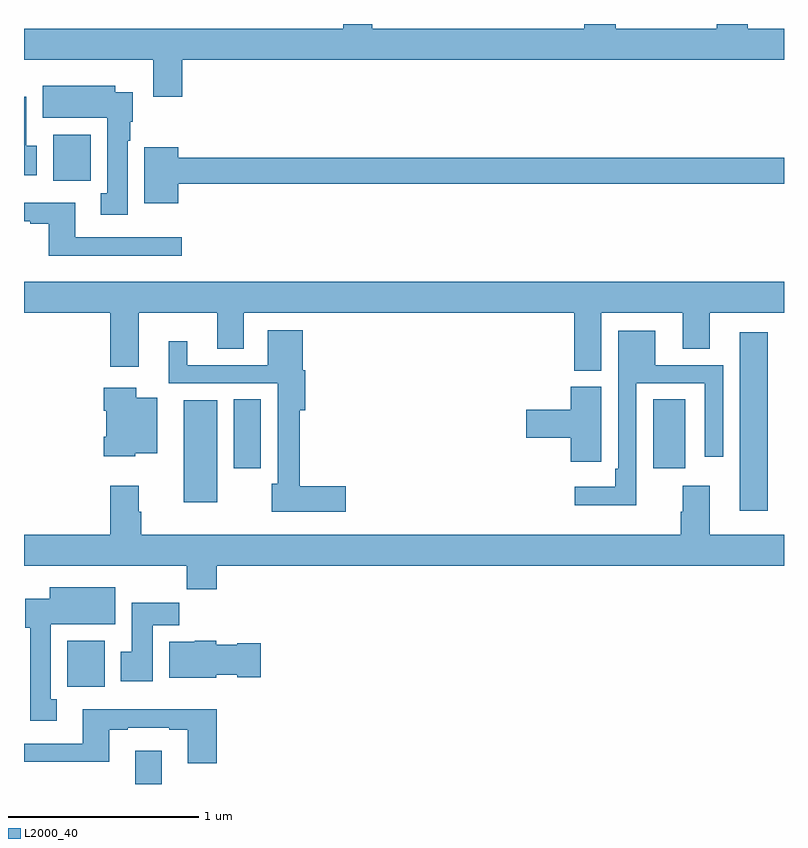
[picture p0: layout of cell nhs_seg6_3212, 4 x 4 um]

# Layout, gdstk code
import gdstk
lib = gdstk.Library(unit=1e-6, precision=1e-09)
def R(c, l, rs):  # rectangles x0, y0, x1, y1
    for r in rs: c.add(gdstk.rectangle(r[:2], r[2:], *l))
def P(c, l, *ps):  # polygons
    for p in ps: c.add(gdstk.Polygon(p, *l))
L2000_40 = (2000, 40)

nhs_seg6_3212 = lib.new_cell('nhs_seg6_3212')
R(nhs_seg6_3212, L2000_40, [(299.585,967.5,299.725,967.675), (299.228,968.012,299.425,968.254), (302.768,968.937,302.915,969.877), (299.84,968.984,300.016,969.52), (300.104,969.162,300.247,969.524), (302.312,969.162,302.479,969.524), (299.153,970.676,299.35,970.918)])
P(nhs_seg6_3212, L2000_40, [(299.834,971.312),(303,971.312),(303,971.476),(302.81,971.476),(302.81,971.5),(302.645,971.5),(302.645,971.476),(302.114,971.476),(302.114,971.5),(301.949,971.5),(301.949,971.476),(300.832,971.476),(300.832,971.5),(300.68,971.5),(300.68,971.476),(299,971.476),(299,971.312),(299.681,971.312),(299.681,971.118),(299.834,971.118)],
  [(299.545,970.886),(299.56,970.886),(299.56,970.986),(299.572,970.986),(299.572,971.14),(299.479,971.14),(299.479,971.176),(299.099,971.176),(299.099,971.006),(299.438,971.006),(299.438,970.61),(299.405,970.61),(299.405,970.497),(299.545,970.497)],
  [(299.068,970.86),(299.011,970.86),(299.011,971.118),(299,971.118),(299,970.704),(299.068,970.704)],
  [(299.812,970.66),(303,970.66),(303,970.796),(299.812,970.796),(299.812,970.852),(299.633,970.852),(299.633,970.556),(299.812,970.556)],
  [(299.83,970.377),(299.269,970.377),(299.269,970.558),(299,970.558),(299,970.461),(299.033,970.461),(299.033,970.449),(299.129,970.449),(299.129,970.28),(299.83,970.28)],
  [(302.038,969.98),(302.468,969.98),(302.468,969.79),(302.608,969.79),(302.608,969.98),(303,969.98),(303,970.144),(299,970.144),(299,969.98),(299.453,969.98),(299.453,969.696),(299.605,969.696),(299.605,969.98),(300.017,969.98),(300.017,969.79),(300.157,969.79),(300.157,969.98),(301.895,969.98),(301.895,969.676),(302.038,969.676)],
  [(300.694,969.068),(300.452,969.068),(300.452,969.467),(300.479,969.467),(300.479,969.678),(300.466,969.678),(300.466,969.889),(300.284,969.889),(300.284,969.705),(299.86,969.705),(299.86,969.829),(299.762,969.829),(299.762,969.609),(300.336,969.609),(300.336,969.081),(300.305,969.081),(300.305,968.933),(300.694,968.933)],
  [(302.223,969.609),(302.583,969.609),(302.583,969.222),(302.679,969.222),(302.679,969.705),(302.323,969.705),(302.323,969.886),(302.127,969.886),(302.127,969.16),(302.111,969.16),(302.111,969.064),(301.899,969.064),(301.899,968.966),(302.223,968.966)],
  [(302.037,969.307),(302.038,969.307),(302.038,969.591),(301.877,969.591),(301.877,969.47),(301.644,969.47),(301.644,969.323),(301.877,969.323),(301.877,969.195),(302.037,969.195)],
  [(299.586,969.242),(299.701,969.242),(299.701,969.532),(299.59,969.532),(299.59,969.586),(299.42,969.586),(299.42,969.464),(299.432,969.464),(299.432,969.328),(299.42,969.328),(299.42,969.224),(299.586,969.224)],
  [(300.014,968.648),(303,968.648),(303,968.812),(302.608,968.812),(302.608,969.07),(302.468,969.07),(302.468,968.933),(302.456,968.933),(302.456,968.812),(299.618,968.812),(299.618,968.933),(299.605,968.933),(299.605,969.07),(299.453,969.07),(299.453,968.812),(299,968.812),(299,968.648),(299.857,968.648),(299.857,968.524),(300.014,968.524)],
  [(299.173,967.946),(299.14,967.946),(299.14,968.342),(299.479,968.342),(299.479,968.536),(299.135,968.536),(299.135,968.476),(299.006,968.476),(299.006,968.322),(299.033,968.322),(299.033,967.833),(299.173,967.833)],
  [(299.677,968.336),(299.816,968.336),(299.816,968.454),(299.567,968.454),(299.567,968.196),(299.51,968.196),(299.51,968.04),(299.677,968.04)],
  [(300.012,968.075),(300.123,968.075),(300.123,968.063),(300.247,968.063),(300.247,968.241),(300.123,968.241),(300.123,968.233),(300.012,968.233),(300.012,968.254),(299.898,968.254),(299.898,968.248),(299.765,968.248),(299.765,968.06),(300.012,968.06)],
  [(300.014,967.894),(299.309,967.894),(299.309,967.713),(299,967.713),(299,967.616),(299.449,967.616),(299.449,967.785),(299.545,967.785),(299.545,967.797),(299.765,967.797),(299.765,967.785),(299.861,967.785),(299.861,967.608),(300.014,967.608)])

lib.write_gds('nhs_seg6_3212.gds')
